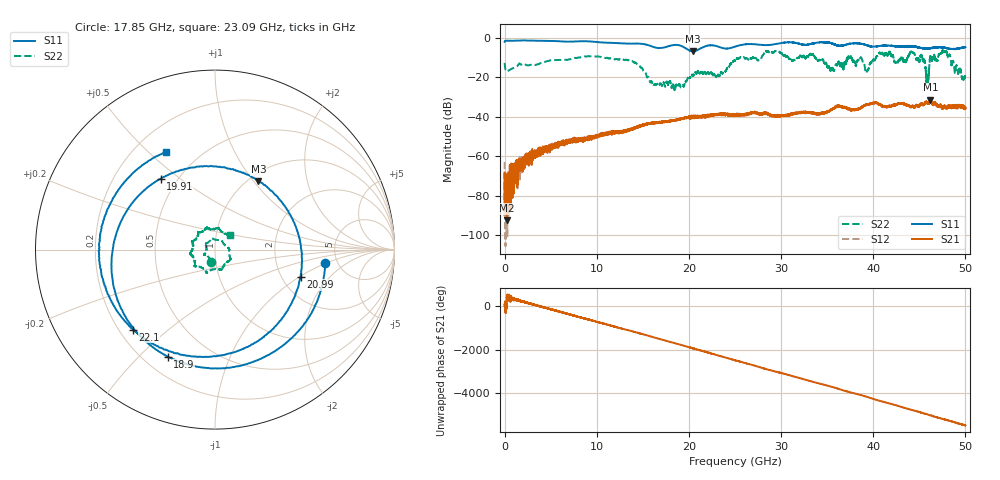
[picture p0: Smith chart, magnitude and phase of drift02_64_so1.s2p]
!Created with skrf (http://scikit-rf.org).
# Hz S RI R 50.0
!freq ReS11 ImS11 ReS21 ImS21 ReS12 ImS12 ReS22 ImS22
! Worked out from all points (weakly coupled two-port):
!   10001 points, 300 kHz to 50 GHz, reference 50 ohm
!   highest |S21| = -31.36 dB at 46.2 GHz (marker M1); lowest = -92.4 dB at 275.3 MHz (marker M2)
!   lowest |S11| = -6.9 dB at 20.41 GHz (marker M3), VSWR 2.64, Z = 55.3 + j52.8 ohm
!   |S11| at or under -10 dB: nowhere
!   |S22| runs from -26.7 to -6.2 dB; largest |S21 - S12| = 0.0034
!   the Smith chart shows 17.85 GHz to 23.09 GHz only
!   S11 on the Smith chart (normalised r, x): 17.85 GHz: 3.98, -0.93; 18.9 GHz: 0.29, -0.61; 19.91 GHz: 0.41, +0.43; 20.99 GHz: 2.53, -1.02; 22.1 GHz: 0.25, -0.38; 23.09 GHz: 0.33, +0.57
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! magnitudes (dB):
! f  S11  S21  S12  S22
! 300 kHz  -2.1  -68.2  -62.9  -12.7
! 275.3 MHz  -1.4  -92.4  -82.1  -17.0
! 2.75 GHz  -1.4  -61.4  -60.7  -13.8
! 8.335 GHz  -1.7  -52.0  -52.0  -9.7
! 13.71 GHz  -3.0  -46.2  -46.4  -11.7
! 16.67 GHz  -5.2  -42.9  -42.9  -23.7
! 17.85 GHz  -4.2  -42.3  -41.9  -22.8
! 18.9 GHz  -3.7  -41.5  -41.2  -23.9
! 19.91 GHz  -6.0  -40.4  -40.4  -19.8
! 20.41 GHz  -6.9  -40.3  -40.0  -19.3
! 20.99 GHz  -6.0  -40.5  -40.2  -16.7
! 22.1 GHz  -3.9  -39.5  -39.5  -17.5
! 23.09 GHz  -4.3  -39.2  -38.8  -18.9
! 25 GHz  -4.5  -38.8  -39.0  -11.6
! 33.34 GHz  -3.0  -38.0  -38.0  -8.4
! 39.32 GHz  -3.8  -33.7  -33.6  -16.9
! 41.67 GHz  -4.0  -34.4  -34.6  -7.7
! 44.27 GHz  -4.2  -34.7  -34.6  -7.4
! 45.85 GHz  -5.5  -32.9  -32.9  -20.9
! 46.2 GHz  -5.2  -31.4  -31.6  -9.1
! 47.75 GHz  -5.0  -34.6  -34.6  -7.0
! 50 GHz  -4.8  -35.9  -36.1  -18.6
